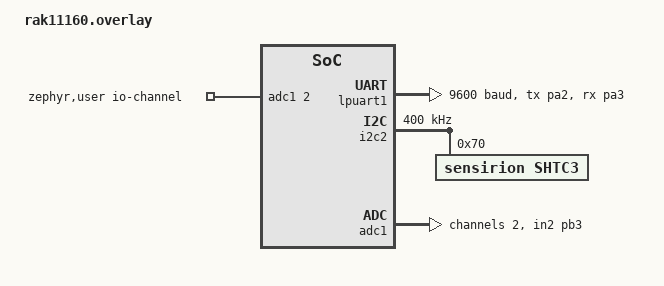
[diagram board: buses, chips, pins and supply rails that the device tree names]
/ {
	zephyr,user {
		io-channels = <&adc1 2>; // PB3
	};

	chosen {
		zephyr,console = &lpuart1;
		zephyr,shell-uart = &lpuart1;
		zephyr,uart-mcumgr = &lpuart1;
	};

	aliases {
		blue-led = &blue_led;
		green-led = &green_led;
		temp-sensor = &shtc3;
	};
};

&usart1 {
	status = "disabled";
};

&usart2 {
	status = "disabled";
};

&lpuart1 {
	pinctrl-0 = <&lpuart1_tx_pa2 &lpuart1_rx_pa3>;
	pinctrl-names = "default";
	/* Set domain clock to LSE to allow wakeup from Stop mode */
	clocks = <&rcc STM32_CLOCK_BUS_APB1_2 0x00000001>,
		<&rcc STM32_SRC_LSE LPUART1_SEL(3)>;
	current-speed = <9600>;
	status = "okay";
	wakeup-source; /* Enable as wakeup source */
	fifo-enable; /* Enable FIFO to avoid losing chars on device wakeup */
};

&i2c2 {
	status = "okay";
	clock-frequency = <I2C_BITRATE_FAST>;
	shtc3: shtc3@70 {
		compatible = "sensirion,shtc3", "sensirion,shtcx";
		reg = <0x70>;
		measure-mode = "normal";
	};
};

&adc1 {
	status = "okay";
	#address-cells = <1>;
	#size-cells = <0>;
	st,adc-clock-source = "SYNC";
	st,adc-prescaler = <4>;
	pinctrl-0 = <&adc_in2_pb3>;
	pinctrl-names = "default";
	channel@2 {
		reg = <2>;
		zephyr,gain = "ADC_GAIN_1";
		zephyr,reference = "ADC_REF_INTERNAL";
		zephyr,acquisition-time = <ADC_ACQ_TIME_MAX>;
		zephyr,resolution = <12>;
	};
};
